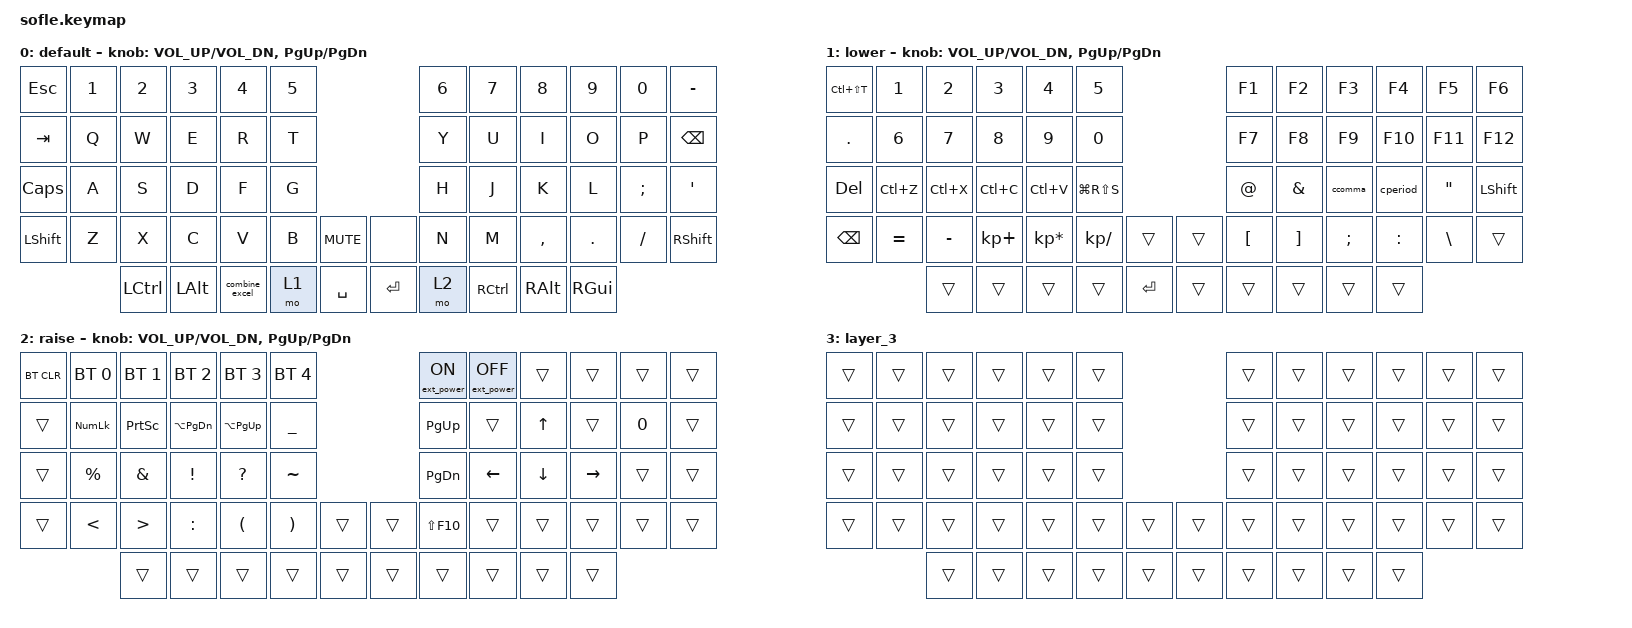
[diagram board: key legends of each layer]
/*
 * Copyright (c) 2020 The ZMK Contributors
 *
 * SPDX-License-Identifier: MIT
 */

#include <behaviors.dtsi>
#include <dt-bindings/zmk/bt.h>
#include <dt-bindings/zmk/ext_power.h>
#include <dt-bindings/zmk/keys.h>

#define BASE 0
#define LOWER 1
#define RAISE 2
#define ADJUST 3

/ {
    // Activate ADJUST layer by pressing raise and lower

    conditional_layers {
        compatible = "zmk,conditional-layers";

        adjust_layer {
            if-layers = <1 2>;
            then-layer = <3>;
        };
    };

    macros {
        ccomma: ccomma {
            compatible = "zmk,behavior-macro";
            #binding-cells = <0>;
            bindings = <&kp GRAVE &kp COMMA>;
            label = "CCOMMA";
        };

        cperiod: cperiod {
            compatible = "zmk,behavior-macro";
            #binding-cells = <0>;
            bindings = <&kp GRAVE &kp PERIOD>;
            label = "CPERIOD";
        };

        combine_excel: combine_excel {
            compatible = "zmk,behavior-macro";
            #binding-cells = <0>;
            bindings = <&kp LA(H) &kp M &kp C>;
            label = "COMBINE_EXCEL";
        };
    };

    keymap {
        compatible = "zmk,keymap";

        default_layer {
            label = "default";

            // ------------------------------------------------------------------------------------------------------------
            // |   `   |  1  |  2  |  3   |  4   |  5   |                   |  6   |  7    |  8    |  9   |   0   |       |
            // |  ESC  |  Q  |  W  |  E   |  R   |  T   |                   |  Y   |  U    |  I    |  O   |   P   | BKSPC |
            // |  TAB  |  A  |  S  |  D   |  F   |  G   |                   |  H   |  J    |  K    |  L   |   ;   |   '   |
            // | SHIFT |  Z  |  X  |  C   |  V   |  B   |  MUTE  |  |       |  N   |  M    |  ,    |  .   |   /   | SHIFT |
            //               | GUI | ALT  | CTRL | LOWER|  ENTER |  | SPACE | RAISE| CTRL  | ALT   | GUI  |

            bindings = <
&kp ESC    &kp N1  &kp N2            &kp N3    &kp N4          &kp N5                           &kp N6  &kp N7     &kp N8     &kp N9    &kp N0    &kp MINUS
&kp TAB    &kp Q   &kp W             &kp E     &kp R           &kp T                            &kp Y   &kp U      &kp I      &kp O     &kp P     &kp BSPC
&kp CAPS   &kp A   &kp S             &kp D     &kp F           &kp G                            &kp H   &kp J      &kp K      &kp L     &kp SEMI  &kp SQT
&kp LSHFT  &kp Z   &kp X             &kp C     &kp V           &kp B   &kp C_MUTE    &none      &kp N   &kp M      &kp COMMA  &kp DOT   &kp FSLH  &kp RSHFT
                   &kp LEFT_CONTROL  &kp LALT  &combine_excel  &mo 1   &kp SPACE     &kp ENTER  &mo 2   &kp RCTRL  &kp RALT   &kp RGUI
            >;

            sensor-bindings = <&inc_dec_kp C_VOL_UP C_VOL_DN &inc_dec_kp PG_UP PG_DN>;
        };

        lower_layer {
            label = "lower";

            // TODO: Some binds are waiting for shifted keycode support.
            // ------------------------------------------------------------------------------------------------------------
            // |       |  F1 |  F2 |  F3  |  F4  |  F5  |                   |  F6  |  F7   |  F8   |  F9  |  F10  |  F11  |
            // |   `   |  1  |  2  |  3   |  4   |  5   |                   |  6   |  7    |  8    |  9   |   0   |  F12  |
            // |       |  !  |  @  |  #   |  $   |  %   |                   |  ^   |  &    |  *    |  (   |   )   |   |   |
            // |       |  =  |  -  |  +   |  {   |  }   |        |  |       |  [   |  ]    |  ;    |  :   |   \   |       |
            //               |     |      |      |      |        |  |       |      |       |       |      |

            bindings = <
&kp LC(LS(T))  &kp NUMBER_1  &kp NUMBER_2  &kp NUMBER_3  &kp NUMBER_4     &kp N5                              &kp F1    &kp F2    &kp F3    &kp F4     &kp F5             &kp F6
&kp PERIOD     &kp NUMBER_6  &kp N7        &kp N8        &kp N9           &kp N0                              &kp F7    &kp F8    &kp F9    &kp F10    &kp F11            &kp F12
&kp DEL        &kp LC(Z)     &kp LC(X)     &kp LC(C)     &kp LC(V)        &kp LG(RS(S))                       &kp AT    &kp AMPS  &ccomma   &cperiod   &kp DOUBLE_QUOTES  &kp LEFT_SHIFT
&kp BACKSPACE  &kp EQUAL     &kp MINUS     &kp KP_PLUS   &kp KP_MULTIPLY  &kp KP_DIVIDE  &trans       &trans  &kp LBKT  &kp RBKT  &kp SEMI  &kp COLON  &kp BSLH           &trans
                             &trans        &trans        &trans           &trans         &kp ENTER    &trans  &trans    &trans    &trans    &trans
            >;

            sensor-bindings = <&inc_dec_kp C_VOL_UP C_VOL_DN &inc_dec_kp PG_UP PG_DN>;
        };

        raise_layer {
            label = "raise";

            // ------------------------------------------------------------------------------------------------------------
            // | BTCLR | BT1  | BT2  |  BT3  |  BT4  |  BT5 |                |      |      |       |      |       |       |
            // |       | INS  | PSCR | GUI   |       |      |                | PGUP |      |   ^   |      |       |       |
            // |       | ALT  | CTRL | SHIFT |       | CAPS |                | PGDN |   <- |   v   |  ->  |  DEL  | BKSPC |
            // |       | UNDO | CUT  | COPY  | PASTE |      |      |  |      |      |      |       |      |       |       |
            //                |      |       |       |      |      |  |      |      |      |       |      |

            bindings = <
&bt BT_CLR  &bt BT_SEL 0    &bt BT_SEL 1      &bt BT_SEL 2       &bt BT_SEL 3          &bt BT_SEL 4                             &ext_power EP_ON  &ext_power EP_OFF  &trans    &trans     &trans  &trans
&trans      &kp KP_NUMLOCK  &kp PSCRN         &kp LA(PAGE_DOWN)  &kp LA(PAGE_UP)       &kp UNDERSCORE                           &kp PG_UP         &trans             &kp UP    &trans     &kp N0  &trans
&trans      &kp PERCENT     &kp AMPERSAND     &kp EXCL           &kp QUESTION          &kp TILDE                                &kp PG_DN         &kp LEFT           &kp DOWN  &kp RIGHT  &trans  &trans
&trans      &kp LESS_THAN   &kp GREATER_THAN  &kp COLON          &kp LEFT_PARENTHESIS  &kp RIGHT_PARENTHESIS  &trans    &trans  &kp LS(F10)       &trans             &trans    &trans     &trans  &trans
                            &trans            &trans             &trans                &trans                 &trans    &trans  &trans            &trans             &trans    &trans
            >;

            sensor-bindings = <&inc_dec_kp C_VOL_UP C_VOL_DN &inc_dec_kp PG_UP PG_DN>;
        };

        layer_3 {
            bindings = <
&trans  &trans  &trans  &trans  &trans  &trans                    &trans  &trans  &trans  &trans  &trans  &trans
&trans  &trans  &trans  &trans  &trans  &trans                    &trans  &trans  &trans  &trans  &trans  &trans
&trans  &trans  &trans  &trans  &trans  &trans                    &trans  &trans  &trans  &trans  &trans  &trans
&trans  &trans  &trans  &trans  &trans  &trans  &trans    &trans  &trans  &trans  &trans  &trans  &trans  &trans
                &trans  &trans  &trans  &trans  &trans    &trans  &trans  &trans  &trans  &trans
            >;
        };
    };
};
